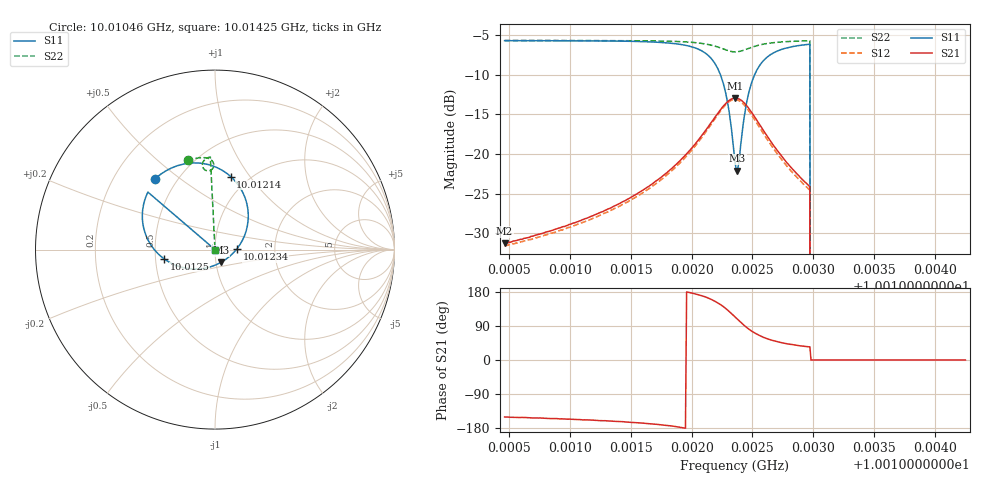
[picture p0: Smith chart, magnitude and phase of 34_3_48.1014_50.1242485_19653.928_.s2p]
#  HZ  S  RI  R  50.00
! Rohde & Schwarz Vector Network Analyzer
! Rohde-Schwarz,ZNB20-2Port,1311601062101988,3.16
! Created: UTC 12/23/2023, 3:38:04 AM
! freq[Hz]  re:S11  im:S11  re:S21  im:S21  re:S12  im:S12  re:S22  im:S22
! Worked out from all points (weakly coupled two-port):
!   401 points, 10.01046 GHz to 10.01425 GHz, reference 50 ohm
!   highest |S21| = -12.94 dB at 10.01236 GHz (marker M1); lowest = -31.2 dB at 10.01046 GHz (marker M2)
!   lowest |S11| = -22.1 dB at 10.01238 GHz (marker M3), VSWR 1.17, Z = 52.8 - j7.63 ohm
!   |S11| at or under -10 dB: 10.01224 GHz to 10.01252 GHz (281.4 kHz wide, 0.00281 % of centre); 10.01297 GHz to end of sweep
!   |S22| runs from - to -5.7 dB; largest |S21 - S12| = 0.01
!   S11 on the Smith chart (normalised r, x): 10.01046 GHz: 0.38, +0.41; 10.01214 GHz: 0.83, +0.81; 10.01234 GHz: 1.28, +0.01; 10.0125 GHz: 0.55, -0.06; 10.01425 GHz: 1.00, +0.00
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1.0010463e10  -0.3368 0.3933  -0.0239 -0.0136  -0.0221 -0.0142  -0.1523 0.4967
1.0011097e10  -0.2799 0.4348  -0.0356 -0.0145  -0.0334 -0.0158  -0.1095 0.5079
1.0011732e10  -0.163 0.4789  -0.0688 -0.0115  -0.0656 -0.0148  -0.0589 0.5125
1.0011997e10  -0.0368 0.4736  -0.108 0.00558  -0.1049 -0.000545  -0.03 0.5053
1.0012139e10  0.0869 0.4072  -0.1431 0.0433  -0.1415 0.0349  -0.0123 0.4896
1.0012205e10  0.1523 0.3231  -0.1565 0.0816  -0.1573 0.0719  -0.00707 0.4753
1.0012262e10  0.1849 0.2053  -0.1556 0.1273  -0.1584 0.1181  -0.00896 0.4591
1.00123e10  0.1738 0.1044  -0.1401 0.1635  -0.1441 0.1551  -0.016 0.4483
1.0012338e10  0.1214 0.00333  -0.1099 0.1952  -0.1146 0.1876  -0.028 0.4405
1.0012357e10  0.0806 -0.0386  -0.0904 0.2065  -0.0956 0.1992  -0.0351 0.4389
1.0012376e10  0.0321 -0.0718  -0.0697 0.2134  -0.0743 0.2065  -0.0423 0.4389
1.0012395e10  -0.0221 -0.095  -0.0477 0.2165  -0.0517 0.2099  -0.0494 0.4408
1.0012452e10  -0.1853 -0.0985  0.0138 0.2019  0.00785 0.1955  -0.0651 0.4534
1.0012499e10  -0.2856 -0.0501  0.0464 0.1746  0.04 0.1691  -0.0699 0.4669
1.0012565e10  -0.365 0.0386  0.0671 0.1352  0.0603 0.1312  -0.0684 0.4832
1.001265e10  -0.401 0.1382  0.0722 0.0962  0.0654 0.0942  -0.0602 0.4973
1.0012783e10  -0.4002 0.2402  0.0647 0.06  0.0592 0.0596  -0.0454 0.5092
1.0012954e10  -0.3767 0.3143  0.0526 0.0371  0.0485 0.0374  -0.0279 0.5162
1.0012991e10  0 0  0 0  0 0  0 0
1.0013001e10  0 0  0 0  0 0  0 0
1.0013626e10  0 0  0 0  0 0  0 0
1.0014251e10  0 0  0 0  0 0  0 0
